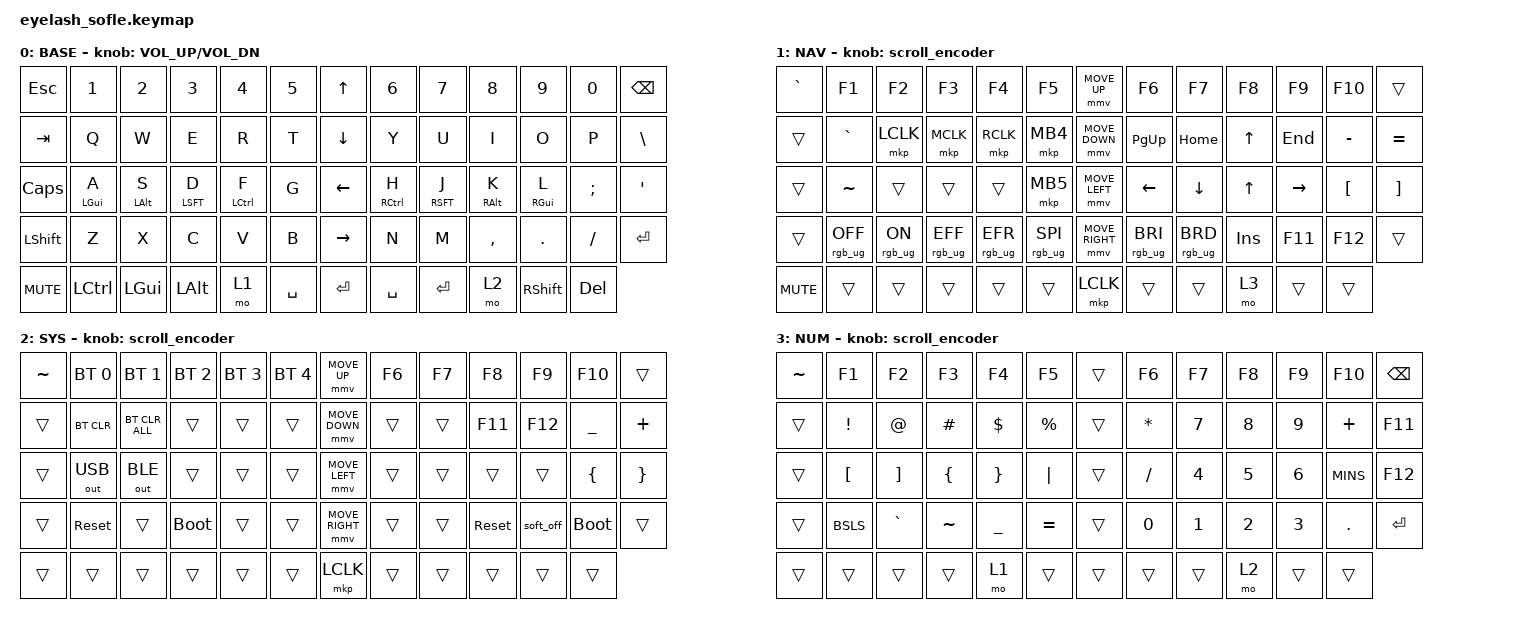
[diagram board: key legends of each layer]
#define ZMK_POINTING_DEFAULT_MOVE_VAL 1200
#define ZMK_POINTING_DEFAULT_SCRL_VAL 25

#include <input/processors.dtsi>
#include <zephyr/dt-bindings/input/input-event-codes.h>
#include <behaviors.dtsi>
#include <dt-bindings/zmk/bt.h>
#include <dt-bindings/zmk/ext_power.h>
#include <dt-bindings/zmk/keys.h>
#include <dt-bindings/zmk/pointing.h>
#include <dt-bindings/zmk/rgb.h>
#include <dt-bindings/zmk/outputs.h>

&mmv_input_listener { input-processors = <&zip_xy_scaler 2 1>; };
&msc_input_listener { input-processors = <&zip_scroll_scaler 2 1>; };

&msc {
    acceleration-exponent = <1>;
    time-to-max-speed-ms = <100>;
    delay-ms = <0>;
};

&mmv {
    time-to-max-speed-ms = <500>;
    acceleration-exponent = <1>;
    trigger-period-ms = <16>;
};


/ {
    behaviors {
        hm: homerow_mods {
            compatible = "zmk,behavior-hold-tap";
            #binding-cells = <2>;
            tapping-term-ms = <200>;
            quick-tap-ms = <175>;
            require-prior-idle-ms = <150>;
            flavor = "balanced";
            bindings = <&kp>, <&kp>;
        };
    };

    scroll_encoder: scroll_encoder {
        compatible = "zmk,behavior-sensor-rotate";
        #sensor-binding-cells = <0>;
        bindings = <&msc SCRL_DOWN>, <&msc SCRL_UP>;
        tap-ms = <100>;
    };

    keymap {
        compatible = "zmk,keymap";

        BASE {
            display-name = "BASE";
            bindings = <
&kp ESC      &kp N1       &kp N2         &kp N3         &kp N4    &kp N5         &kp UP_ARROW      &kp N6         &kp N7     &kp N8     &kp N9           &kp N0       &kp BSPC
&kp TAB      &kp Q        &kp W          &kp E          &kp R     &kp T          &kp DOWN_ARROW    &kp Y          &kp U      &kp I      &kp O            &kp P        &kp BSLH
&kp CAPS     &hm LGUI A   &hm LALT S     &hm LSFT D     &hm LCTL F  &kp G        &kp LEFT_ARROW    &hm RCTL H     &hm RSFT J &hm RALT K &hm RGUI L       &kp SEMI     &kp APOS
&kp LSHFT    &kp Z        &kp X          &kp C          &kp V     &kp B          &kp RIGHT_ARROW   &kp N          &kp M      &kp COMMA  &kp DOT          &kp FSLH     &kp ENTER
&kp C_MUTE   &kp LCTRL    &kp LEFT_GUI   &kp LEFT_ALT   &mo 1     &kp SPACE      &kp ENTER         &kp SPACE      &kp ENTER  &mo 2      &kp RIGHT_SHIFT  &kp DELETE
            >;
            sensor-bindings = <&inc_dec_kp C_VOLUME_UP C_VOL_DN>;
        };

        NAV {
            display-name = "NAV";
            bindings = <
&kp GRAVE   &kp F1           &kp F2          &kp F3           &kp F4           &kp F5             &mmv MOVE_UP     &kp F6           &kp F7           &kp F8      &kp F9     &kp F10           &trans
&trans      &kp GRAVE        &mkp LCLK       &mkp MCLK        &mkp RCLK        &mkp MB4           &mmv MOVE_DOWN   &kp PG_UP        &kp HOME         &kp UP      &kp END    &kp MINUS         &kp EQUAL
&trans      &kp TILDE        &trans          &trans           &trans           &mkp MB5           &mmv MOVE_LEFT   &kp LEFT         &kp DOWN         &kp UP      &kp RIGHT  &kp LEFT_BRACKET  &kp RIGHT_BRACKET
&trans      &rgb_ug RGB_OFF  &rgb_ug RGB_ON  &rgb_ug RGB_EFF  &rgb_ug RGB_EFR  &rgb_ug RGB_SPI    &mmv MOVE_RIGHT  &rgb_ug RGB_BRI  &rgb_ug RGB_BRD  &kp INSERT  &kp F11    &kp F12           &trans
&kp C_MUTE  &trans           &trans          &trans           &trans           &trans             &mkp LCLK        &trans           &trans           &mo 3       &trans     &trans
            >;
            sensor-bindings = <&scroll_encoder>;
        };

        SYS {
            display-name = "SYS";
            bindings = <
&kp TILDE  &bt BT_SEL 0  &bt BT_SEL 1    &bt BT_SEL 2  &bt BT_SEL 3  &bt BT_SEL 4    &mmv MOVE_UP     &kp F6  &kp F7  &kp F8      &kp F9     &kp F10      &trans
&trans     &bt BT_CLR    &bt BT_CLR_ALL  &trans        &trans        &trans          &mmv MOVE_DOWN   &trans  &trans  &kp F11     &kp F12    &kp UNDER    &kp PLUS
&trans     &out OUT_USB  &out OUT_BLE    &trans        &trans        &trans          &mmv MOVE_LEFT   &trans  &trans  &trans      &trans     &kp LBRC     &kp RBRC
&trans     &sys_reset    &trans          &bootloader   &trans        &trans          &mmv MOVE_RIGHT  &trans  &trans  &sys_reset  &soft_off  &bootloader  &trans
&trans     &trans        &trans          &trans        &trans        &trans          &mkp LCLK        &trans  &trans  &trans      &trans     &trans
            >;
            sensor-bindings = <&scroll_encoder>;
        };

        NUM {
            display-name = "NUM";
            bindings = <
&kp TILDE  &kp F1   &kp F2   &kp F3   &kp F4   &kp F5      &trans    &kp F6    &kp F7  &kp F8  &kp F9  &kp F10  &kp BSPC
&trans     &kp EXCL &kp AT   &kp HASH &kp DLLR &kp PRCNT   &trans    &kp ASTRK &kp N7  &kp N8  &kp N9  &kp PLUS &kp F11
&trans     &kp LBKT &kp RBKT &kp LBRC &kp RBRC &kp PIPE    &trans    &kp FSLH  &kp N4  &kp N5  &kp N6  &kp MINS &kp F12
&trans     &kp BSLS &kp GRAVE &kp TILDE &kp UNDER &kp EQL  &trans    &kp N0    &kp N1  &kp N2  &kp N3  &kp DOT  &kp ENTER
&trans     &trans   &trans   &trans   &mo 1    &trans      &trans    &trans    &trans  &mo 2   &trans  &trans
            >;
            sensor-bindings = <&scroll_encoder>;
        };
    };
};
